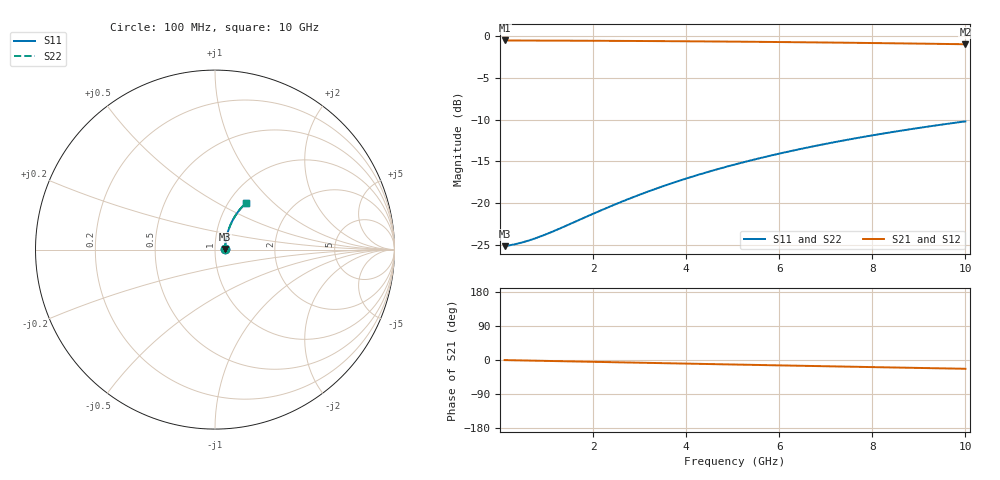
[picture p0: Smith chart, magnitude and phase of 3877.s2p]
# Hz S RI R 50.00
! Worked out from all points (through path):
!   100 points, 100 MHz to 10 GHz, reference 50 ohm
!   highest |S21| = -0.49 dB at 100 MHz (marker M1); lowest = -0.9 dB at 10 GHz (marker M2)
!   group delay of S21, straight-line fit = 6.45 ps
!   lowest |S11| = -25.2 dB at 100 MHz (marker M3), VSWR 1.12, Z = 55.8 + j0.337 ohm
!   |S11| at or under -10 dB: start of sweep to end of sweep
!   |S22| runs from -25.2 to -10.2 dB; largest |S21 - S12| = 0
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1e8  0.055 0.00301  0.945 -0.00395  0.945 -0.00395  0.055 0.00301
4e8  0.0559 0.012  0.944 -0.0158  0.944 -0.0158  0.0559 0.012
6e8  0.0565 0.018  0.9435 -0.0237  0.9435 -0.0237  0.0565 0.018
8e8  0.0571 0.024  0.9428 -0.0315  0.9428 -0.0315  0.0571 0.024
1e9  0.0578 0.0299  0.9422 -0.0394  0.9422 -0.0394  0.0578 0.0299
1.2e9  0.0585 0.0358  0.9414 -0.0472  0.9414 -0.0472  0.0585 0.0358
1.8e9  0.0612 0.0536  0.9386 -0.0706  0.9386 -0.0706  0.0612 0.0536
2.2e9  0.0634 0.0653  0.9363 -0.0861  0.9363 -0.0861  0.0634 0.0653
2.6e9  0.066 0.0769  0.9337 -0.1015  0.9337 -0.1015  0.066 0.0769
3e9  0.0689 0.0884  0.9306 -0.1168  0.9306 -0.1168  0.0689 0.0884
3.4e9  0.0722 0.0998  0.9272 -0.1319  0.9272 -0.1319  0.0722 0.0998
3.8e9  0.0759 0.111  0.9235 -0.147  0.9235 -0.147  0.0759 0.111
4.2e9  0.0798 0.122  0.9193 -0.1618  0.9193 -0.1618  0.0798 0.122
4.6e9  0.0842 0.1329  0.9148 -0.1765  0.9148 -0.1765  0.0842 0.1329
5.1e9  0.09 0.1463  0.9087 -0.1946  0.9087 -0.1946  0.09 0.1463
5.5e9  0.0951 0.1567  0.9035 -0.2089  0.9035 -0.2089  0.0951 0.1567
5.9e9  0.1005 0.167  0.8979 -0.2229  0.8979 -0.2229  0.1005 0.167
6.7e9  0.1121 0.1868  0.8858 -0.2503  0.8858 -0.2503  0.1121 0.1868
7.5e9  0.1248 0.2056  0.8725 -0.2768  0.8725 -0.2768  0.1248 0.2056
8.4e9  0.1404 0.2255  0.8563 -0.3053  0.8563 -0.3053  0.1404 0.2255
9.2e9  0.1551 0.2421  0.8409 -0.3295  0.8409 -0.3295  0.1551 0.2421
1e10  0.1707 0.2575  0.8246 -0.3526  0.8246 -0.3526  0.1707 0.2575
